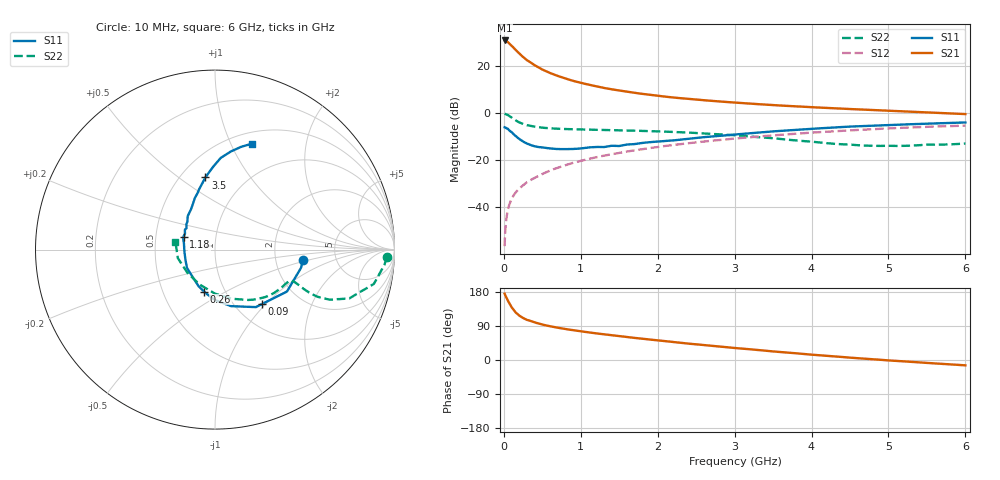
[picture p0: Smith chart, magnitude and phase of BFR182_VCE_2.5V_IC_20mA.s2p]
! Infineon Technologies  Discrete & RF Semiconductors
! BFR182
! VCE =  2.5 V,  IC =  20 mA
! Common Emitter S-Parameters:  Nov 2015
# GHz  S  MA  R  50
!  f  S11  S21  S12  S22
! GHz  MAG  ANG  MAG  ANG  MAG  ANG  MAG  ANG
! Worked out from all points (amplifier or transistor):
!   210 points, 10 MHz to 6 GHz, reference 50 ohm
!   highest |S21| = 30.7 dB at 10 MHz (marker M1)
!   |S21| within 3 dB of that: start of sweep to 124.1 MHz
!   unconditionally stable (mu >= 1): 485.4 MHz to 2.516 GHz
!   at 185 MHz: K = 0.72, MSG = 29.1 dB, |S12| = -32.6 dB
!   at 1.52 GHz: K = 1.06, MAG = 11.6 dB, |S12| = -16.8 dB
!   at 6 GHz: K = 0.90, MSG = 2.5 dB, |S12| = -5.4 dB
!   S11 on the Smith chart (normalised r, x): 10 MHz: 2.89, -0.42; 90 MHz: 1.32, -0.95; 260 MHz: 0.80, -0.40; 1.18 GHz: 0.70, +0.10; 3.5 GHz: 0.66, +0.63; 6 GHz: 0.62, +1.21
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0.01  0.4954 -6.4  34.19 175.0  0.0015 79.9  0.9574 -2.4
0.02  0.4896 -12.1  33.67 170.0  0.0035 78.7  0.9483 -5.1
0.05  0.4641 -30.2  31.82 156.9  0.0086 80.4  0.9052 -12.2
0.09  0.4008 -49.1  27.5 143.1  0.0138 74.5  0.8165 -18.3
0.1  0.3931 -54.6  26.72 139.0  0.0151 73.7  0.796 -20.0
0.15  0.3279 -74.0  21.83 125.8  0.0202 70.2  0.6975 -23.6
0.2  0.2817 -89.7  18.1 117.2  0.0249 69.6  0.6294 -24.7
0.26  0.242 -104.6  14.78 109.8  0.0301 70.6  0.5745 -24.5
0.3  0.2239 -114.0  13.08 105.9  0.0339 71.3  0.5483 -24.1
0.4  0.196 -130.1  10.21 99.1  0.0419 72.4  0.509 -23.0
0.5  0.1862 -147.0  8.275 93.3  0.0506 73.1  0.4847 -22.3
0.7  0.1713 -168.0  6.058 85.1  0.0687 73.5  0.461 -22.2
0.9  0.1718 176.5  4.764 78.5  0.0872 72.9  0.4495 -23.0
1.02  0.1778 167.7  4.249 75.2  0.098 72.4  0.4444 -24.0
1.18  0.1891 157.8  3.715 70.8  0.113 71.6  0.4377 -25.6
1.6  0.2133 138.4  2.795 60.5  0.1516 68.5  0.4233 -30.8
2.02  0.2479 125.9  2.277 51.4  0.1912 64.9  0.4048 -37.3
3.1  0.3582 103.2  1.611 30.1  0.2949 53.8  0.3255 -59.1
3.5  0.4053 97.6  1.46 22.6  0.3336 49.5  0.2903 -70.7
4.1  0.4697 90.4  1.295 12.6  0.39 42.1  0.2361 -94.0
5.1  0.5604 79.8  1.096 -2.3  0.4767 29.3  0.1994 -145.7
6  0.6261 70.6  0.943 -14.1  0.5361 16.7  0.2245 168.8
